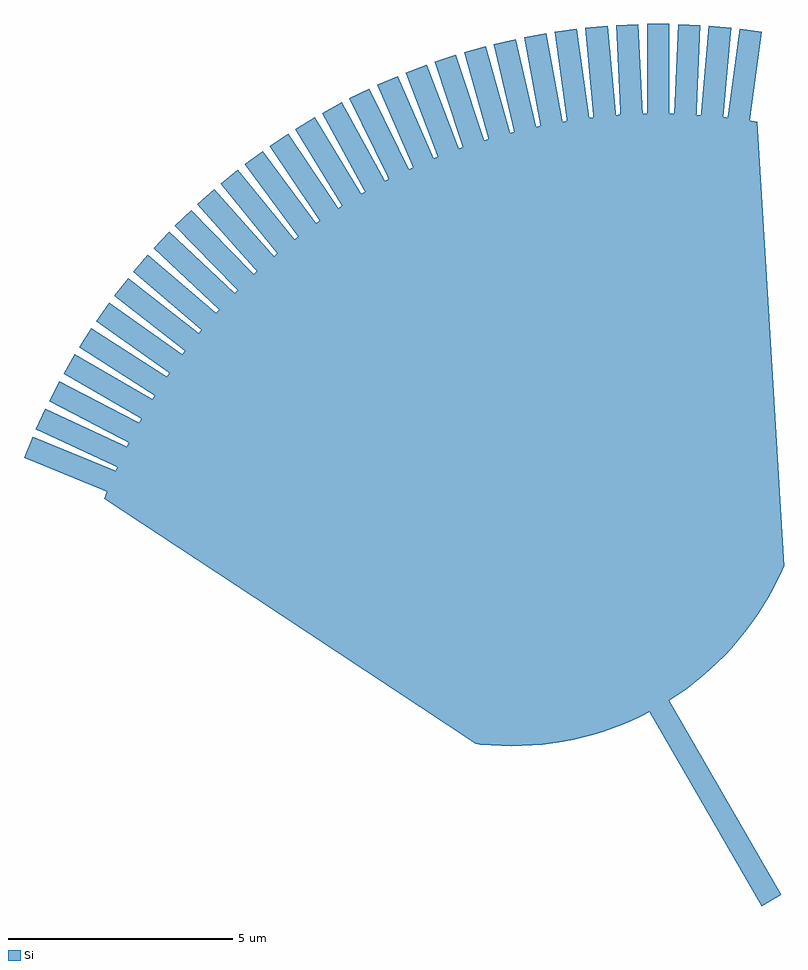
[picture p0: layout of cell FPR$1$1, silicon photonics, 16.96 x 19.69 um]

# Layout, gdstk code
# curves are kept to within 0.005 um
from math import pi, radians
import gdstk
lib = gdstk.Library(unit=1e-6, precision=1e-09)
def R(c, l, rs):  # rectangles x0, y0, x1, y1
    for r in rs: c.add(gdstk.rectangle(r[:2], r[2:], *l))
def P(c, l, *ps):  # polygons
    for p in ps: c.add(gdstk.Polygon(p, *l))
Si = (1, 0)

taper002_1_1 = lib.new_cell('taper002$1$1')
R(taper002_1_1, Si, [(-2,-0.25,2.5,0.25)])

boolean_1_1 = lib.new_cell('boolean$1$1')
P(boolean_1_1, Si, [(3.594,-8.412),(-5.29,-3.97),(-5.484,-3.699),(-5.61,-3.505),(-5.841,-3.106),(-6.043,-2.691),(-6.216,-2.262),(-6.291,-2.044),(-6.419,-1.6),(-6.515,-1.149),(-6.579,-0.691),(-6.611,-0.231),(-6.615,0),(-6.611,0.231),(-6.579,0.691),(-6.515,1.149),(-6.419,1.6),(-6.291,2.044),(-6.216,2.262),(-6.043,2.691),(-5.841,3.106),(-5.61,3.505),(-5.484,3.699),(-5.29,3.97),(3.594,8.412),(3.81,8.145),(4.088,7.776),(4.353,7.398),(4.605,7.011),(4.843,6.615),(5.066,6.211),(5.276,5.8),(5.471,5.381),(5.652,4.956),(5.817,4.525),(5.967,4.088),(6.102,3.647),(6.222,3.201),(6.326,2.751),(6.414,2.297),(6.486,1.841),(6.543,1.383),(6.583,0.923),(6.607,0.462),(6.615,0),(6.607,-0.462),(6.583,-0.923),(6.543,-1.383),(6.486,-1.841),(6.414,-2.297),(6.326,-2.751),(6.222,-3.201),(6.102,-3.647),(5.967,-4.088),(5.817,-4.525),(5.652,-4.956),(5.471,-5.381),(5.276,-5.8),(5.066,-6.211),(4.843,-6.615),(4.605,-7.011),(4.353,-7.398),(4.088,-7.776),(3.81,-8.145)])

taper_1_1 = lib.new_cell('taper$1$1')
R(taper_1_1, Si, [(-5,-0.25,2.5,0.25)])

fpr_1_1 = lib.new_cell('FPR$1$1')
fpr_1_1.add(gdstk.Reference(taper002_1_1, (-21.367,0.909), rotation=radians(329.8847), x_reflection=True))
fpr_1_1.add(gdstk.Reference(taper002_1_1, (-20.718,1.919), rotation=radians(324.6874), x_reflection=True))
fpr_1_1.add(gdstk.Reference(taper002_1_1, (-9.349,7.489), rotation=radians(267.5166), x_reflection=True))
fpr_1_1.add(gdstk.Reference(taper002_1_1, (-10.549,7.486), rotation=radians(272.714), x_reflection=True))
fpr_1_1.add(gdstk.Reference(taper002_1_1, (-14.078,6.832), rotation=radians(288.306), x_reflection=True))
fpr_1_1.add(gdstk.Reference(taper002_1_1, (-14.643,6.63), rotation=radians(290.9047), x_reflection=True))
fpr_1_1.add(gdstk.Reference(taper002_1_1, (-19.581,3.312), rotation=radians(316.8914), x_reflection=True))
fpr_1_1.add(gdstk.Reference(taper002_1_1, (-8.154,7.383), rotation=radians(262.3193), x_reflection=True))
fpr_1_1.add(gdstk.Reference(taper002_1_1, (-21.054,1.421), rotation=radians(327.286), x_reflection=True))
fpr_1_1.add(gdstk.Reference(taper002_1_1, (-16.276,5.876), rotation=radians(298.7007), x_reflection=True))
fpr_1_1.add(gdstk.Reference(taper002_1_1, (-11.743,7.375), rotation=radians(277.9113), x_reflection=True))
fpr_1_1.add(gdstk.Reference(taper002_1_1, (-17.301,5.253), rotation=radians(303.898), x_reflection=True))
fpr_1_1.add(gdstk.Reference(taper002_1_1, (-18.722,4.15), rotation=radians(311.694), x_reflection=True))
fpr_1_1.add(gdstk.Reference(taper002_1_1, (-13.504,7.007), rotation=radians(285.7073), x_reflection=True))
fpr_1_1.add(gdstk.Reference(taper002_1_1, (-19.981,2.865), rotation=radians(319.49), x_reflection=True))
fpr_1_1.add(gdstk.Reference(taper002_1_1, (-22.161,-0.704), rotation=radians(337.6807), x_reflection=True))
fpr_1_1.add(gdstk.Reference(taper002_1_1, (-12.336,7.279), rotation=radians(280.51), x_reflection=True))
fpr_1_1.add(gdstk.Reference(taper002_1_1, (-16.796,5.576), rotation=radians(301.2993), x_reflection=True))
fpr_1_1.add(gdstk.Reference(taper002_1_1, (-21.656,0.384), rotation=radians(332.4834), x_reflection=True))
fpr_1_1.add(gdstk.Reference(taper002_1_1, (-15.199,6.404), rotation=radians(293.5033), x_reflection=True))
fpr_1_1.add(gdstk.Reference(taper002_1_1, (-21.921,-0.155), rotation=radians(335.0821), x_reflection=True))
fpr_1_1.add(gdstk.Reference(taper002_1_1, (-12.923,7.156), rotation=radians(283.1086), x_reflection=True))
fpr_1_1.add(gdstk.Reference(taper002_1_1, (-11.147,7.444), rotation=radians(275.3126), x_reflection=True))
fpr_1_1.add(gdstk.Reference(boolean_1_1, (-13.23,0), rotation=radians(120)))
fpr_1_1.add(gdstk.Reference(taper002_1_1, (-19.161,3.741), rotation=radians(314.2927), x_reflection=True))
fpr_1_1.add(gdstk.Reference(taper002_1_1, (-8.751,7.449), rotation=radians(264.9179), x_reflection=True))
fpr_1_1.add(gdstk.Reference(taper002_1_1, (-9.949,7.501), rotation=radians(270.1153), x_reflection=True))
fpr_1_1.add(gdstk.Reference(taper002_1_1, (-17.791,4.907), rotation=radians(306.4967), x_reflection=True))
fpr_1_1.add(gdstk.Reference(taper002_1_1, (-15.743,6.152), rotation=radians(296.102), x_reflection=True))
fpr_1_1.add(gdstk.Reference(taper002_1_1, (-18.266,4.539), rotation=radians(309.0953), x_reflection=True))
fpr_1_1.add(gdstk.Reference(taper_1_1, (-9.922,-5.729), rotation=radians(120)))
fpr_1_1.add(gdstk.Reference(taper002_1_1, (-20.36,2.4), rotation=radians(322.0887), x_reflection=True))

lib.write_gds('FPR_1_1.gds')
